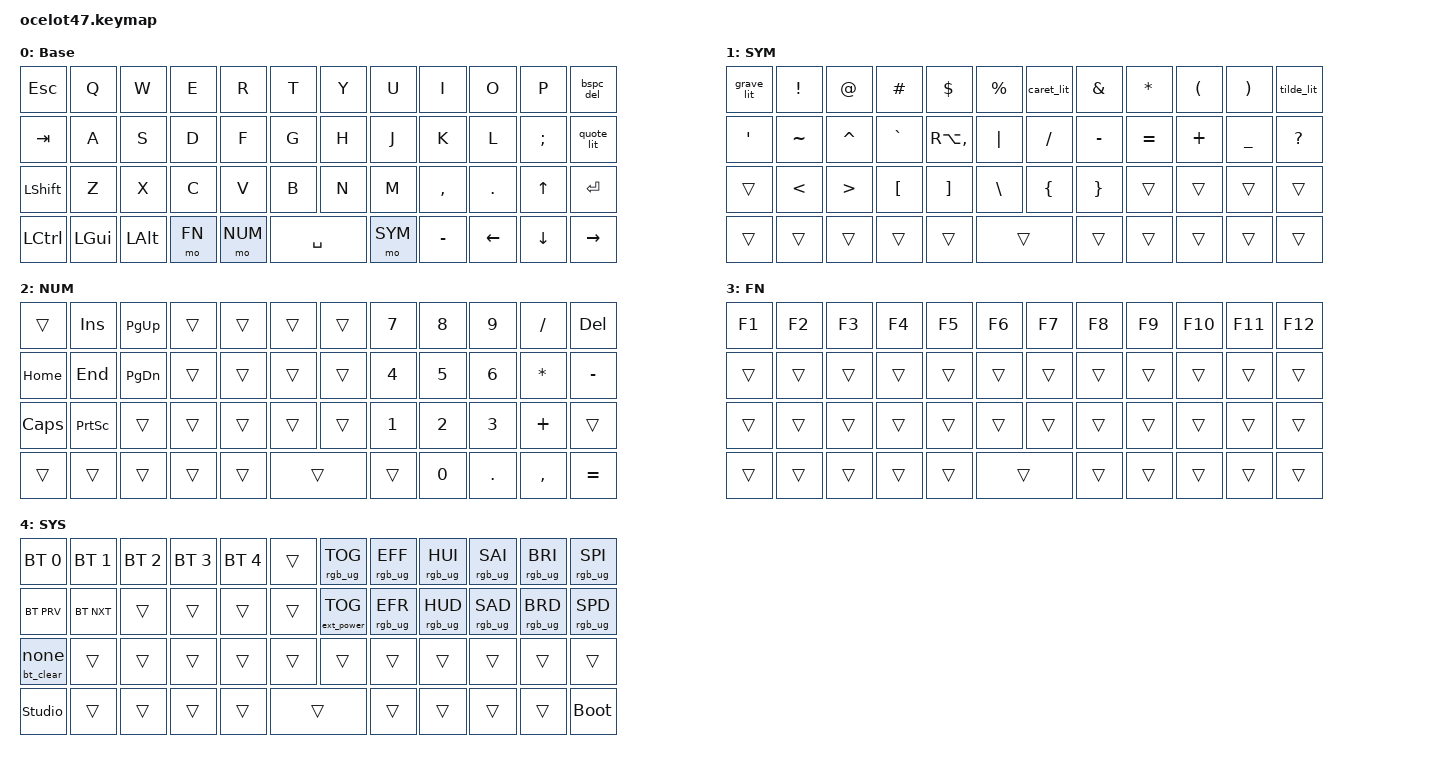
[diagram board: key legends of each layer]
/*
 * Ocelot47 keymap rev 2: Base, SYM, NUM, FN, SYS.
 *
 * Status: layout approved by Gustavo 2026-10-05. Not flashed or tested on the board.
 * Host: Windows with the US-International layout (' " ` ~ ^ are dead keys there).
 *
 * Key positions follow the documentation labels 01-47:
 *   Row 1: 01-12 / Row 2: 13-24 / Row 3: 25-36
 *   Row 4: 37-41 [42 = 2U SPACE] 43-47
 *
 * SYS is not held directly: it turns on while NUM (41) and SYM (43) are both held.
 */

#include <behaviors.dtsi>
#include <dt-bindings/zmk/keys.h>
#include <dt-bindings/zmk/bt.h>
#include <dt-bindings/zmk/rgb.h>
#include <dt-bindings/zmk/ext_power.h>

#define BASE 0
#define SYM  1
#define NUM  2
#define FN   3
#define SYS  4

/ {
    macros {
        bt_clear: bt_clear {
            compatible = "zmk,behavior-macro";
            #binding-cells = <0>;
            bindings = <&bt BT_CLR>;
        };

        /* US-Intl dead key followed by Space types the plain character. */
        sqt_lit: sqt_lit {
            compatible = "zmk,behavior-macro";
            #binding-cells = <0>;
            bindings = <&kp SQT &kp SPACE>;
        };

        dqt_lit: dqt_lit {
            compatible = "zmk,behavior-macro";
            #binding-cells = <0>;
            bindings = <&kp DQT &kp SPACE>;
        };

        grave_lit: grave_lit {
            compatible = "zmk,behavior-macro";
            #binding-cells = <0>;
            bindings = <&kp GRAVE &kp SPACE>;
        };

        tilde_lit: tilde_lit {
            compatible = "zmk,behavior-macro";
            #binding-cells = <0>;
            bindings = <&kp TILDE &kp SPACE>;
        };

        caret_lit: caret_lit {
            compatible = "zmk,behavior-macro";
            #binding-cells = <0>;
            bindings = <&kp CARET &kp SPACE>;
        };
    };

    behaviors {
        /* Protected BT clear: fires only after a 1.5 s hold; a tap does nothing. */
        hold_bt_clear: hold_bt_clear {
            compatible = "zmk,behavior-hold-tap";
            #binding-cells = <2>;
            flavor = "tap-preferred";
            tapping-term-ms = <1500>;
            bindings = <&bt_clear>, <&none>;
        };

        /* Tap = Backspace, Shift+tap = Delete (Shift is not passed on). */
        bspc_del: bspc_del {
            compatible = "zmk,behavior-mod-morph";
            #binding-cells = <0>;
            bindings = <&kp BSPC>, <&kp DEL>;
            mods = <(MOD_LSFT|MOD_RSFT)>;
        };

        /* Tap = plain ', Shift+tap = plain " on a US-Intl host. */
        quote_lit: quote_lit {
            compatible = "zmk,behavior-mod-morph";
            #binding-cells = <0>;
            bindings = <&sqt_lit>, <&dqt_lit>;
            mods = <(MOD_LSFT|MOD_RSFT)>;
        };
    };

    conditional_layers {
        compatible = "zmk,conditional-layers";
        sys_cond {
            if-layers = <NUM SYM>;
            then-layer = <SYS>;
        };
    };

    keymap {
        compatible = "zmk,keymap";

        base_layer {
            display-name = "Base";
            bindings = <
    &kp ESC    &kp Q      &kp W      &kp E      &kp R      &kp T      &kp Y      &kp U      &kp I      &kp O      &kp P      &bspc_del
    &kp TAB    &kp A      &kp S      &kp D      &kp F      &kp G      &kp H      &kp J      &kp K      &kp L      &kp SEMI   &quote_lit
    &kp LSHFT  &kp Z      &kp X      &kp C      &kp V      &kp B      &kp N      &kp M      &kp COMMA  &kp DOT    &kp UP     &kp RET
    &kp LCTRL  &kp LGUI   &kp LALT   &mo FN     &mo NUM         &kp SPACE         &mo SYM    &kp MINUS  &kp LEFT   &kp DOWN   &kp RIGHT
            >;
        };

        /* Row 2 left: dead accents (´ ~ ^ `) then a vowel, and ç (AltGr+, on US-Intl). */
        sym_layer {
            display-name = "SYM";
            bindings = <
    &grave_lit &kp EXCL   &kp AT     &kp HASH   &kp DLLR   &kp PRCNT  &caret_lit &kp AMPS   &kp STAR   &kp LPAR   &kp RPAR   &tilde_lit
    &kp SQT    &kp TILDE  &kp CARET  &kp GRAVE  &kp RA(COMMA) &kp PIPE &kp FSLH  &kp MINUS  &kp EQUAL  &kp PLUS   &kp UNDER  &kp QMARK
    &trans     &kp LT     &kp GT     &kp LBKT   &kp RBKT   &kp BSLH   &kp LBRC   &kp RBRC   &trans     &trans     &trans     &trans
    &trans     &trans     &trans     &trans     &trans            &trans          &trans     &trans     &trans     &trans     &trans
            >;
        };

        /* Numpad uses number-row keycodes, so NumLock state does not matter. */
        num_layer {
            display-name = "NUM";
            bindings = <
    &trans     &kp INS    &kp PG_UP  &trans     &trans     &trans     &trans     &kp N7     &kp N8     &kp N9     &kp FSLH   &kp DEL
    &kp HOME   &kp END    &kp PG_DN  &trans     &trans     &trans     &trans     &kp N4     &kp N5     &kp N6     &kp STAR   &kp MINUS
    &kp CAPS   &kp PSCRN  &trans     &trans     &trans     &trans     &trans     &kp N1     &kp N2     &kp N3     &kp PLUS   &trans
    &trans     &trans     &trans     &trans     &trans            &trans          &trans     &kp N0     &kp DOT    &kp COMMA  &kp EQUAL
            >;
        };

        fn_layer {
            display-name = "FN";
            bindings = <
    &kp F1     &kp F2     &kp F3     &kp F4     &kp F5     &kp F6     &kp F7     &kp F8     &kp F9     &kp F10    &kp F11    &kp F12
    &trans     &trans     &trans     &trans     &trans     &trans     &trans     &trans     &trans     &trans     &trans     &trans
    &trans     &trans     &trans     &trans     &trans     &trans     &trans     &trans     &trans     &trans     &trans     &trans
    &trans     &trans     &trans     &trans     &trans            &trans          &trans     &trans     &trans     &trans     &trans
            >;
        };

        sys_layer {
            display-name = "SYS";
            bindings = <
    &bt BT_SEL 0       &bt BT_SEL 1    &bt BT_SEL 2    &bt BT_SEL 3    &bt BT_SEL 4    &trans          &rgb_ug RGB_TOG   &rgb_ug RGB_EFF   &rgb_ug RGB_HUI   &rgb_ug RGB_SAI   &rgb_ug RGB_BRI   &rgb_ug RGB_SPI
    &bt BT_PRV         &bt BT_NXT      &trans          &trans          &trans          &trans          &ext_power EP_TOG &rgb_ug RGB_EFR   &rgb_ug RGB_HUD   &rgb_ug RGB_SAD   &rgb_ug RGB_BRD   &rgb_ug RGB_SPD
    &hold_bt_clear 0 0 &trans          &trans          &trans          &trans          &trans          &trans            &trans            &trans            &trans            &trans            &trans
    &studio_unlock     &trans          &trans          &trans          &trans                   &trans                   &trans            &trans            &trans            &trans            &bootloader
            >;
        };

        extra1 {
            status = "reserved";
        };

        extra2 {
            status = "reserved";
        };
    };
};
